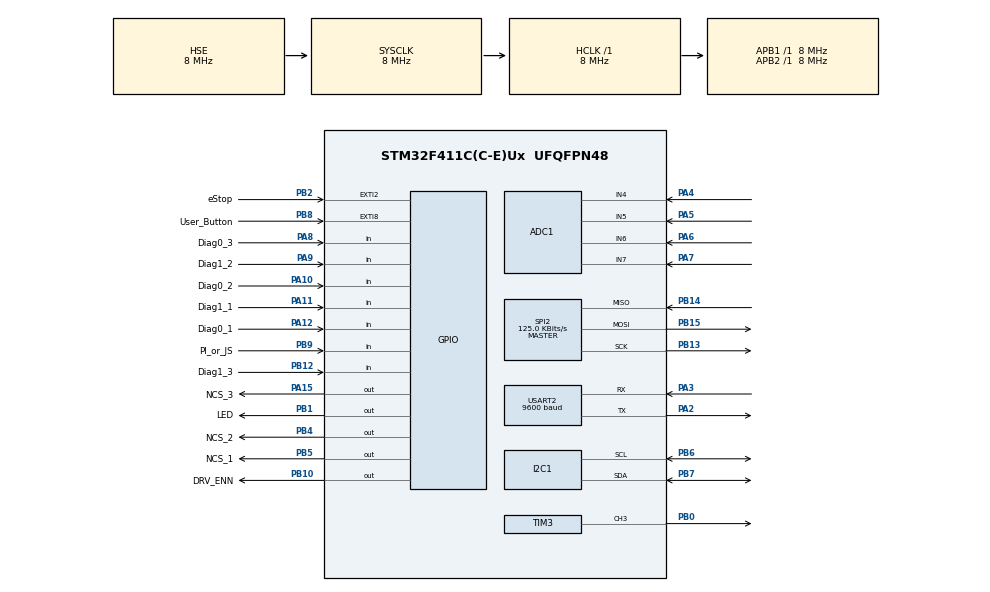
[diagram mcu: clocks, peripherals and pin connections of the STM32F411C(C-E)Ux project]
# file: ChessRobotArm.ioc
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ADC1.Channel-0\#ChannelRegularConversion=ADC_CHANNEL_5
ADC1.ClockPrescaler=ADC_CLOCK_SYNC_PCLK_DIV2
ADC1.NbrOfConversionFlag=1
ADC1.Rank-0\#ChannelRegularConversion=1
ADC1.SamplingTime-0\#ChannelRegularConversion=ADC_SAMPLETIME_3CYCLES
ADC1.master=1
Dma.Request0=SPI2_TX
Dma.SPI2_TX.0.Direction=DMA_MEMORY_TO_PERIPH
Dma.SPI2_TX.0.FIFOMode=DMA_FIFOMODE_DISABLE
Dma.SPI2_TX.0.Instance=DMA1_Stream4
Dma.SPI2_TX.0.MemDataAlignment=DMA_MDATAALIGN_BYTE
Dma.SPI2_TX.0.MemInc=DMA_MINC_ENABLE
Dma.SPI2_TX.0.Mode=DMA_NORMAL
Dma.SPI2_TX.0.PeriphDataAlignment=DMA_PDATAALIGN_BYTE
Dma.SPI2_TX.0.PeriphInc=DMA_PINC_DISABLE
Dma.SPI2_TX.0.Priority=DMA_PRIORITY_LOW
Mcu.Family=STM32F4
Mcu.Name=STM32F411C(C-E)Ux
Mcu.Package=UFQFPN48
NVIC.DMA1_Stream4_IRQn=true\:0\:0\:false\:false\:true\:false\:true\:true
NVIC.EXTI2_IRQn=true\:0\:0\:false\:false\:true\:true\:true\:true
NVIC.EXTI9_5_IRQn=true\:0\:0\:false\:false\:true\:true\:true\:true
NVIC.PriorityGroup=NVIC_PRIORITYGROUP_4
NVIC.SPI2_IRQn=true\:0\:0\:false\:false\:true\:true\:true\:true
NVIC.TIM3_IRQn=true\:0\:0\:false\:false\:true\:true\:true\:true
PA10.GPIO_Label=Diag0_2
PA10.Signal=GPIO_Input
PA11.GPIO_Label=Diag1_1
PA11.Signal=GPIO_Input
PA12.GPIO_Label=Diag0_1
PA12.Signal=GPIO_Input
PA13.Mode=Trace_Asynchronous_SW
PA13.Signal=SYS_JTMS-SWDIO
PA14.Mode=Trace_Asynchronous_SW
PA14.Signal=SYS_JTCK-SWCLK
PA15.GPIO_Label=NCS_3
PA15.Signal=GPIO_Output
PA2.Mode=Asynchronous
PA2.Signal=USART2_TX
PA3.Mode=Asynchronous
PA3.Signal=USART2_RX
PA4.Signal=ADCx_IN4
PA5.Signal=ADCx_IN5
PA6.Signal=ADCx_IN6
PA7.Signal=ADCx_IN7
PA8.GPIO_Label=Diag0_3
PA8.Signal=GPIO_Input
PA9.GPIO_Label=Diag1_2
PA9.Signal=GPIO_Input
PB0.Signal=S_TIM3_CH3
PB1.GPIO_Label=LED
PB1.Signal=GPIO_Output
PB10.GPIO_Label=DRV_ENN
PB10.Signal=GPIO_Output
PB12.GPIO_Label=Diag1_3
PB12.Signal=GPIO_Input
PB13.Mode=Full_Duplex_Master
PB13.Signal=SPI2_SCK
PB14.Mode=Full_Duplex_Master
PB14.Signal=SPI2_MISO
PB15.Mode=Full_Duplex_Master
PB15.Signal=SPI2_MOSI
PB2.GPIO_Label=eStop
PB2.Signal=GPXTI2
PB3.Mode=Trace_Asynchronous_SW
PB3.Signal=SYS_JTDO-SWO
PB4.GPIO_Label=NCS_2
PB4.Signal=GPIO_Output
PB5.GPIO_Label=NCS_1
PB5.Signal=GPIO_Output
PB6.Mode=I2C
PB6.Signal=I2C1_SCL
PB7.Mode=I2C
PB7.Signal=I2C1_SDA
PB8.GPIO_Label=User_Button
PB8.Signal=GPXTI8
PB9.GPIO_Label=PI_or_JS
PB9.Signal=GPIO_Input
PH0\ -\ OSC_IN.Mode=HSE-External-Oscillator
PH0\ -\ OSC_IN.Signal=RCC_OSC_IN
PH1\ -\ OSC_OUT.Mode=HSE-External-Oscillator
PH1\ -\ OSC_OUT.Signal=RCC_OSC_OUT
ProjectManager.HeapSize=0x200
ProjectManager.StackSize=0x400
ProjectManager.TargetToolchain=STM32CubeIDE
RCC.48MHZClocksFreq_Value=24000000
RCC.AHBFreq_Value=8000000
RCC.APB1Freq_Value=8000000
RCC.APB1TimFreq_Value=8000000
RCC.APB2Freq_Value=8000000
RCC.APB2TimFreq_Value=8000000
RCC.CortexFreq_Value=8000000
RCC.HCLKFreq_Value=8000000
RCC.HSE_VALUE=8000000
RCC.HSI_VALUE=16000000
RCC.LSE_VALUE=32768
RCC.PLLSourceVirtual=RCC_PLLSOURCE_HSE
RCC.SYSCLKFreq_VALUE=8000000
RCC.SYSCLKSource=RCC_SYSCLKSOURCE_HSE
RCC.VCOOutputFreq_Value=96000000
SH.ADCx_IN4.0=ADC1_IN4,IN4
SH.ADCx_IN5.0=ADC1_IN5,IN5
SH.ADCx_IN6.0=ADC1_IN6,IN6
SH.ADCx_IN7.0=ADC1_IN7,IN7
SH.S_TIM3_CH3.0=TIM3_CH3,PWM Generation3 CH3
SPI2.BaudRatePrescaler=SPI_BAUDRATEPRESCALER_64
SPI2.CalculateBaudRate=125.0 KBits/s
SPI2.Direction=SPI_DIRECTION_2LINES
SPI2.Mode=SPI_MODE_MASTER
SPI2.VirtualType=VM_MASTER
TIM3.Channel-PWM\ Generation3\ CH3=TIM_CHANNEL_3
TIM3.Period=39999
USART2.BaudRate=9600
USART2.VirtualMode=VM_ASYNC
board=custom

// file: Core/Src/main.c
/* USER CODE BEGIN Header */
/**
  ******************************************************************************
  * @file           : main.c
  * @brief          : Main program body
  ******************************************************************************
  * @attention
  *
  * Copyright (c) 2026 STMicroelectronics.
  * All rights reserved.
  *
  * This software is licensed under terms that can be found in the LICENSE file
  * in the root directory of this software component.
  * If no LICENSE file comes with this software, it is provided AS-IS.
  *
  ******************************************************************************
  */
/* USER CODE END Header */
#include "main.h"

/* USER CODE BEGIN Includes */
#include "fsm.h"
#include "Joystick.h"
#include "StepperMotorDriver.h"
#include "fsm.h"
#include <stdio.h>
#include <string.h>
/* USER CODE END Includes */

/* USER CODE BEGIN PD */

uint16_t adc_value = 0;
uint8_t rx_data;
GPIO_PinState lastState = GPIO_PIN_RESET;
volatile uint8_t userButtonPressed = 0;
volatile uint8_t eStopPressed = 0;
volatile uint16_t joy_x1 = 0;
volatile uint16_t joy_y1 = 0;
volatile uint16_t joy_x2 = 0;
volatile uint8_t adc_request = 0;
volatile uint8_t tmc_debug_request = 0;

/* USER CODE END PD */

ADC_HandleTypeDef hadc1;

I2C_HandleTypeDef hi2c1;

SPI_HandleTypeDef hspi2;
DMA_HandleTypeDef hdma_spi2_tx;

TIM_HandleTypeDef htim3;

UART_HandleTypeDef huart2;

/* USER CODE BEGIN PV */

stepper_motor_driver_t motor1;
stepper_motor_driver_t motor2;
stepper_motor_driver_t motor3;

uint8_t TX_Buffer [] = "Testing" ; // DATA to send

/* USER CODE END PV */

void SystemClock_Config(void);
static void MX_GPIO_Init(void);
static void MX_DMA_Init(void);
static void MX_ADC1_Init(void);
static void MX_I2C1_Init(void);
static void MX_SPI2_Init(void);
static void MX_TIM3_Init(void);
static void MX_USART2_UART_Init(void);

int main(void)
{

  /* USER CODE BEGIN 1 */

	// Initialize the Motor Structs
	motor1.hspi = &hspi2;
	motor1.Diag0_Port = Diag0_1_GPIO_Port;
	motor1.Diag0_Pin = Diag0_1_Pin;
	motor1.Diag1_Port = Diag1_1_GPIO_Port;
	motor1.Diag1_Pin = Diag1_1_Pin;
	motor1.NCS_Port = NCS_1_GPIO_Port;
	motor1.NCS_Pin = NCS_1_Pin;

	motor2.hspi = &hspi2;
	motor2.Diag0_Port = Diag0_2_GPIO_Port;
	motor2.Diag0_Pin = Diag0_2_Pin;
	motor2.Diag1_Port = Diag1_2_GPIO_Port;
	motor2.Diag1_Pin = Diag1_2_Pin;
	motor2.NCS_Port = NCS_2_GPIO_Port;
	motor2.NCS_Pin = NCS_2_Pin;

	motor3.hspi = &hspi2;
	motor3.Diag0_Port = Diag0_3_GPIO_Port;
	motor3.Diag0_Pin = Diag0_3_Pin;
	motor3.Diag1_Port = Diag1_3_GPIO_Port;
	motor3.Diag1_Pin = Diag1_3_Pin;
	motor3.NCS_Port = NCS_3_GPIO_Port;
	motor3.NCS_Pin = NCS_3_Pin;

  /* USER CODE END 1 */

  /* MCU Configuration--------------------------------------------------------*/

  /* Reset of all peripherals, Initializes the Flash interface and the Systick. */
  HAL_Init();

  /* Configure the system clock */
  SystemClock_Config();

  /* Initialize all configured peripherals */
  MX_GPIO_Init();
  MX_DMA_Init();
  MX_ADC1_Init();
  MX_I2C1_Init();
  MX_SPI2_Init();
  MX_TIM3_Init();
  MX_USART2_UART_Init();
  /* USER CODE BEGIN 2 */

  // Initialize PB5 as NCS

//  GPIO_InitTypeDef GPIO_InitStruct = {0};
//
//  __HAL_RCC_GPIOB_CLK_ENABLE();
//
//  GPIO_InitStruct.Pin = GPIO_PIN_5;
//  GPIO_InitStruct.Mode = GPIO_MODE_OUTPUT_PP;
//  GPIO_InitStruct.Pull = GPIO_NOPULL;
//  GPIO_InitStruct.Speed = GPIO_SPEED_FREQ_HIGH;
//
//  HAL_GPIO_Init(GPIOB, &GPIO_InitStruct);

  // Set NCS to high initially
  //HAL_GPIO_WritePin(GPIOB, GPIO_PIN_5, GPIO_PIN_SET);

  //Send SPI to initialize motor
  TMC_Init(&motor1);
  TMC_Init(&motor2);
  TMC_Init(&motor3);

  // Arm UART to recieve rx in interrupt mode
  HAL_UART_Receive_IT(&huart2, &rx_data, 1);

  //Servo Motor PWM Start
  HAL_TIM_PWM_Start_IT(&htim3, TIM_CHANNEL_3);
  // Set Servo Claw to open
  //__HAL_TIM_SET_COMPARE(&htim3, TIM_CHANNEL_3, SERVO_OPEN);

  /* USER CODE END 2 */

  /* Infinite loop */
  /* USER CODE BEGIN WHILE */

  char test[] = "UART OK\r\n";
  HAL_UART_Transmit(&huart2, (uint8_t*)test, strlen(test), HAL_MAX_DELAY);

  while (1)
  {
	  FSM_Update(&fsm);

//	    if (tmc_debug_request)
//	    {
//	        tmc_debug_request = 0;
//
//	        TMC_PrintDebug(&motor1);
//	    }

	  //JOYSTICK TEST CODE
	  // Read Joysticks
//	  uint16_t joy_x1 = Read_ADC_Channel(&hadc1, JOYSTICK1X);
//	  uint16_t joy_y1 = Read_ADC_Channel(&hadc1, JOYSTICK1Y);
//	  uint16_t joy_x2 = Read_ADC_Channel(&hadc1, JOYSTICK2X);
//	  uint16_t joy_y2 = Read_ADC_Channel(&hadc1, JOYSTICK2Y);
//
//	  char msg[64];
//	  sprintf(msg, "X1: %u  Y1: %u    X2: %u  Y2: %u\r\n",
//			  (4096-joy_x1), joy_y1, (4096-joy_x2), joy_y2);
//
//	  HAL_UART_Transmit(&huart2, (uint8_t*)msg, strlen(msg), 100);

//	  HAL_Delay(200);
//	  HAL_GPIO_TogglePin(GPIOB, GPIO_PIN_1);

	  // SPI TEST CODE
	  // Sending SPI Transfer in Blocking mode
	  //TMC_SPI_Send40(0xAD00003200, &motor2);
//	  TMC_MoveOneRotationLeft(&motor2);
//	  HAL_Delay(2500);
//	  TMC_SPI_Send40(packet(XTARGETW, 0), &motor2);
//	  HAL_Delay(2500);

	  //Test LED

//	    HAL_GPIO_TogglePin(GPIOB, GPIO_PIN_1);
//	    HAL_Delay(500);

//   // Test Crystal
//	    uint32_t sysclk = HAL_RCC_GetSysClockFreq();
//	    uint32_t hclk   = HAL_RCC_GetHCLKFreq();
//
//	    volatile uint32_t a = sysclk;
//	    volatile uint32_t b = hclk;

    /* USER CODE END WHILE */

  }
}

void SystemClock_Config(void)
{
  RCC_OscInitTypeDef RCC_OscInitStruct = {0};
  RCC_ClkInitTypeDef RCC_ClkInitStruct = {0};

  /** Configure the main internal regulator output voltage
  */
  __HAL_RCC_PWR_CLK_ENABLE();
  __HAL_PWR_VOLTAGESCALING_CONFIG(PWR_REGULATOR_VOLTAGE_SCALE1);

  /** Initializes the RCC Oscillators according to the specified parameters
  * in the RCC_OscInitTypeDef structure.
  */
  RCC_OscInitStruct.OscillatorType = RCC_OSCILLATORTYPE_HSE;
  RCC_OscInitStruct.HSEState = RCC_HSE_ON;
  RCC_OscInitStruct.PLL.PLLState = RCC_PLL_NONE;
  if (HAL_RCC_OscConfig(&RCC_OscInitStruct) != HAL_OK)
  {
    Error_Handler();
  }

  /** Initializes the CPU, AHB and APB buses clocks
  */
  RCC_ClkInitStruct.ClockType = RCC_CLOCKTYPE_HCLK|RCC_CLOCKTYPE_SYSCLK
                              |RCC_CLOCKTYPE_PCLK1|RCC_CLOCKTYPE_PCLK2;
  RCC_ClkInitStruct.SYSCLKSource = RCC_SYSCLKSOURCE_HSE;
  RCC_ClkInitStruct.AHBCLKDivider = RCC_SYSCLK_DIV1;
  RCC_ClkInitStruct.APB1CLKDivider = RCC_HCLK_DIV1;
  RCC_ClkInitStruct.APB2CLKDivider = RCC_HCLK_DIV1;

  if (HAL_RCC_ClockConfig(&RCC_ClkInitStruct, FLASH_LATENCY_0) != HAL_OK)
  {
    Error_Handler();
  }
}

static void MX_ADC1_Init(void)
{

  ADC_ChannelConfTypeDef sConfig = {0};

  /** Configure the global features of the ADC (Clock, Resolution, Data Alignment and number of conversion)
  */
  hadc1.Instance = ADC1;
  hadc1.Init.ClockPrescaler = ADC_CLOCK_SYNC_PCLK_DIV2;
  hadc1.Init.Resolution = ADC_RESOLUTION_12B;
  hadc1.Init.ScanConvMode = DISABLE;
  hadc1.Init.ContinuousConvMode = DISABLE;
  hadc1.Init.DiscontinuousConvMode = DISABLE;
  hadc1.Init.ExternalTrigConvEdge = ADC_EXTERNALTRIGCONVEDGE_NONE;
  hadc1.Init.ExternalTrigConv = ADC_SOFTWARE_START;
  hadc1.Init.DataAlign = ADC_DATAALIGN_RIGHT;
  hadc1.Init.NbrOfConversion = 1;
  hadc1.Init.DMAContinuousRequests = DISABLE;
  hadc1.Init.EOCSelection = ADC_EOC_SINGLE_CONV;
  if (HAL_ADC_Init(&hadc1) != HAL_OK)
  {
    Error_Handler();
  }

  /** Configure for the selected ADC regular channel its corresponding rank in the sequencer and its sample time.
  */
  sConfig.Channel = ADC_CHANNEL_5;
  sConfig.Rank = 1;
  sConfig.SamplingTime = ADC_SAMPLETIME_3CYCLES;
  if (HAL_ADC_ConfigChannel(&hadc1, &sConfig) != HAL_OK)
  {
    Error_Handler();
  }

}

static void MX_I2C1_Init(void)
{

  hi2c1.Instance = I2C1;
  hi2c1.Init.ClockSpeed = 100000;
  hi2c1.Init.DutyCycle = I2C_DUTYCYCLE_2;
  hi2c1.Init.OwnAddress1 = 0;
  hi2c1.Init.AddressingMode = I2C_ADDRESSINGMODE_7BIT;
  hi2c1.Init.DualAddressMode = I2C_DUALADDRESS_DISABLE;
  hi2c1.Init.OwnAddress2 = 0;
  hi2c1.Init.GeneralCallMode = I2C_GENERALCALL_DISABLE;
  hi2c1.Init.NoStretchMode = I2C_NOSTRETCH_DISABLE;
  if (HAL_I2C_Init(&hi2c1) != HAL_OK)
  {
    Error_Handler();
  }

}

static void MX_SPI2_Init(void)
{

  /* SPI2 parameter configuration*/
  hspi2.Instance = SPI2;
  hspi2.Init.Mode = SPI_MODE_MASTER;
  hspi2.Init.Direction = SPI_DIRECTION_2LINES;
  hspi2.Init.DataSize = SPI_DATASIZE_8BIT;
  hspi2.Init.CLKPolarity = SPI_POLARITY_LOW;
  hspi2.Init.CLKPhase = SPI_PHASE_1EDGE;
  hspi2.Init.NSS = SPI_NSS_SOFT;
  hspi2.Init.BaudRatePrescaler = SPI_BAUDRATEPRESCALER_64;
  hspi2.Init.FirstBit = SPI_FIRSTBIT_MSB;
  hspi2.Init.TIMode = SPI_TIMODE_DISABLE;
  hspi2.Init.CRCCalculation = SPI_CRCCALCULATION_DISABLE;
  hspi2.Init.CRCPolynomial = 10;
  if (HAL_SPI_Init(&hspi2) != HAL_OK)
  {
    Error_Handler();
  }

}

static void MX_TIM3_Init(void)
{

  TIM_MasterConfigTypeDef sMasterConfig = {0};
  TIM_OC_InitTypeDef sConfigOC = {0};

  htim3.Instance = TIM3;
  htim3.Init.Prescaler = 0;
  htim3.Init.CounterMode = TIM_COUNTERMODE_UP;
  htim3.Init.Period = 39999;
  htim3.Init.ClockDivision = TIM_CLOCKDIVISION_DIV1;
  htim3.Init.AutoReloadPreload = TIM_AUTORELOAD_PRELOAD_DISABLE;
  if (HAL_TIM_PWM_Init(&htim3) != HAL_OK)
  {
    Error_Handler();
  }
  sMasterConfig.MasterOutputTrigger = TIM_TRGO_RESET;
  sMasterConfig.MasterSlaveMode = TIM_MASTERSLAVEMODE_DISABLE;
  if (HAL_TIMEx_MasterConfigSynchronization(&htim3, &sMasterConfig) != HAL_OK)
  {
    Error_Handler();
  }
  sConfigOC.OCMode = TIM_OCMODE_PWM1;
  sConfigOC.Pulse = 0;
  sConfigOC.OCPolarity = TIM_OCPOLARITY_HIGH;
  sConfigOC.OCFastMode = TIM_OCFAST_DISABLE;
  if (HAL_TIM_PWM_ConfigChannel(&htim3, &sConfigOC, TIM_CHANNEL_3) != HAL_OK)
  {
    Error_Handler();
  }
  HAL_TIM_MspPostInit(&htim3);

}

static void MX_USART2_UART_Init(void)
{

  huart2.Instance = USART2;
  huart2.Init.BaudRate = 9600;
  huart2.Init.WordLength = UART_WORDLENGTH_8B;
  huart2.Init.StopBits = UART_STOPBITS_1;
  huart2.Init.Parity = UART_PARITY_NONE;
  huart2.Init.Mode = UART_MODE_TX_RX;
  huart2.Init.HwFlowCtl = UART_HWCONTROL_NONE;
  huart2.Init.OverSampling = UART_OVERSAMPLING_16;
  if (HAL_UART_Init(&huart2) != HAL_OK)
  {
    Error_Handler();
  }

}

static void MX_DMA_Init(void)
{

  /* DMA controller clock enable */
  __HAL_RCC_DMA1_CLK_ENABLE();

  /* DMA interrupt init */
  /* DMA1_Stream4_IRQn interrupt configuration */
  HAL_NVIC_SetPriority(DMA1_Stream4_IRQn, 0, 0);
  HAL_NVIC_EnableIRQ(DMA1_Stream4_IRQn);

}

static void MX_GPIO_Init(void)
{
  GPIO_InitTypeDef GPIO_InitStruct = {0};

  /* GPIO Ports Clock Enable */
  __HAL_RCC_GPIOH_CLK_ENABLE();
  __HAL_RCC_GPIOA_CLK_ENABLE();
  __HAL_RCC_GPIOB_CLK_ENABLE();

  /*Configure GPIO pin Output Level */
  HAL_GPIO_WritePin(GPIOB, LED_Pin|DRV_ENN_Pin|NCS_2_Pin|NCS_1_Pin, GPIO_PIN_RESET);

  /*Configure GPIO pin Output Level */
  HAL_GPIO_WritePin(NCS_3_GPIO_Port, NCS_3_Pin, GPIO_PIN_RESET);

  /*Configure GPIO pins : LED_Pin DRV_ENN_Pin NCS_2_Pin NCS_1_Pin */
  GPIO_InitStruct.Pin = LED_Pin|DRV_ENN_Pin|NCS_2_Pin|NCS_1_Pin;
  GPIO_InitStruct.Mode = GPIO_MODE_OUTPUT_PP;
  GPIO_InitStruct.Pull = GPIO_NOPULL;
  GPIO_InitStruct.Speed = GPIO_SPEED_FREQ_LOW;
  HAL_GPIO_Init(GPIOB, &GPIO_InitStruct);

  /*Configure GPIO pins : eStop_Pin User_Button_Pin */
  GPIO_InitStruct.Pin = eStop_Pin|User_Button_Pin;
  GPIO_InitStruct.Mode = GPIO_MODE_IT_RISING;
  GPIO_InitStruct.Pull = GPIO_NOPULL;
  HAL_GPIO_Init(GPIOB, &GPIO_InitStruct);

  /*Configure GPIO pins : Diag1_3_Pin PI_or_JS_Pin */
  GPIO_InitStruct.Pin = Diag1_3_Pin|PI_or_JS_Pin;
  GPIO_InitStruct.Mode = GPIO_MODE_INPUT;
  GPIO_InitStruct.Pull = GPIO_NOPULL;
  HAL_GPIO_Init(GPIOB, &GPIO_InitStruct);

  /*Configure GPIO pins : Diag0_3_Pin Diag1_2_Pin Diag0_2_Pin Diag1_1_Pin
                           Diag0_1_Pin */
  GPIO_InitStruct.Pin = Diag0_3_Pin|Diag1_2_Pin|Diag0_2_Pin|Diag1_1_Pin
                          |Diag0_1_Pin;
  GPIO_InitStruct.Mode = GPIO_MODE_INPUT;
  GPIO_InitStruct.Pull = GPIO_NOPULL;
  HAL_GPIO_Init(GPIOA, &GPIO_InitStruct);

  /*Configure GPIO pin : NCS_3_Pin */
  GPIO_InitStruct.Pin = NCS_3_Pin;
  GPIO_InitStruct.Mode = GPIO_MODE_OUTPUT_PP;
  GPIO_InitStruct.Pull = GPIO_NOPULL;
  GPIO_InitStruct.Speed = GPIO_SPEED_FREQ_LOW;
  HAL_GPIO_Init(NCS_3_GPIO_Port, &GPIO_InitStruct);

  /* EXTI interrupt init*/
  HAL_NVIC_SetPriority(EXTI2_IRQn, 0, 0);
  HAL_NVIC_EnableIRQ(EXTI2_IRQn);

  HAL_NVIC_SetPriority(EXTI9_5_IRQn, 0, 0);
  HAL_NVIC_EnableIRQ(EXTI9_5_IRQn);

}

/* USER CODE BEGIN 4 */

void HAL_UART_RxCpltCallback(UART_HandleTypeDef *huart)
{
    if (huart->Instance == USART2)
    {
        //adc_request = 1;   // ask main loop to read ADC
   	 tmc_debug_request = 1;

        HAL_UART_Receive_IT(&huart2, &rx_data, 1); // re-arm UART RX
    }
}

void HAL_GPIO_EXTI_Callback(uint16_t GPIO_Pin)
{
    if (GPIO_Pin == User_Button_Pin)
    {
   	 userButtonPressed = 1;
    }

    if (GPIO_Pin == eStop_Pin)
    {
   	 eStopPressed = 1;
    }

}

/* USER CODE END 4 */

void Error_Handler(void)
{
  __disable_irq();
  while (1)
  {
  }
}
